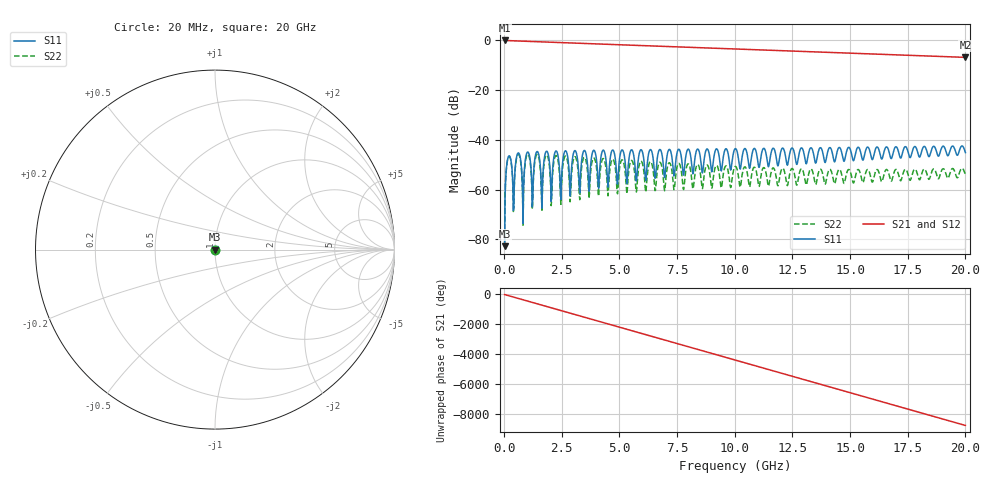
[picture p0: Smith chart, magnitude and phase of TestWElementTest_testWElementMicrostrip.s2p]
! File created by SignalIntegrity v1.1.13: Signal and Power Integrity Tools
! https://github.com/TeledyneLeCroy/SignalIntegrity
# MHz S MA R 50.0
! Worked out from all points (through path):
!   1000 points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, 20 MHz to 20 GHz, reference 50 ohm
!   highest |S21| = -0.01 dB at 20 MHz (marker M1); lowest = -6.8 dB at 20 GHz (marker M2)
!   group delay of S21, straight-line fit = 1.22 ns
!   lowest |S11| = -82.7 dB at 20 MHz (marker M3), VSWR 1.00, Z = 50 - j0.007 ohm
!   |S11| at or under -10 dB: start of sweep to end of sweep
!   |S22| runs from -82.7 to -45.7 dB; largest |S21 - S12| = 0
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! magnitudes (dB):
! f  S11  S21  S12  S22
! 20 MHz  -82.7  0.0  0.0  -82.7
! 220 MHz  -46.4  -0.1  -0.1  -46.6
! 400 MHz  -68.5  -0.2  -0.2  -68.8
! 620 MHz  -45.2  -0.2  -0.2  -45.8
! 820 MHz  -73.6  -0.3  -0.3  -74.3
! 1.02 GHz  -44.9  -0.4  -0.4  -45.7
! 1.22 GHz  -66.9  -0.4  -0.4  -67.9
! 1.44 GHz  -44.7  -0.5  -0.5  -45.9
! 1.64 GHz  -67.5  -0.6  -0.6  -68.8
! 1.84 GHz  -44.5  -0.7  -0.7  -46.0
! 2.04 GHz  -64.8  -0.7  -0.7  -66.4
! 2.24 GHz  -44.5  -0.8  -0.8  -46.3
! 2.44 GHz  -60.5  -0.9  -0.9  -62.5
! 2.66 GHz  -44.4  -0.9  -0.9  -46.5
! 2.86 GHz  -62.6  -1.0  -1.0  -64.9
! 3.06 GHz  -44.3  -1.1  -1.1  -46.8
! 3.36 GHz  -48.4  -1.2  -1.2  -51.1
! 6.68 GHz  -45.2  -2.3  -2.3  -50.3
! 10.02 GHz  -43.5  -3.4  -3.4  -50.7
! 13.34 GHz  -43.4  -4.6  -4.6  -51.9
! 16.68 GHz  -44.5  -5.7  -5.7  -53.6
! 20 GHz  -45.1  -6.8  -6.8  -54.1
